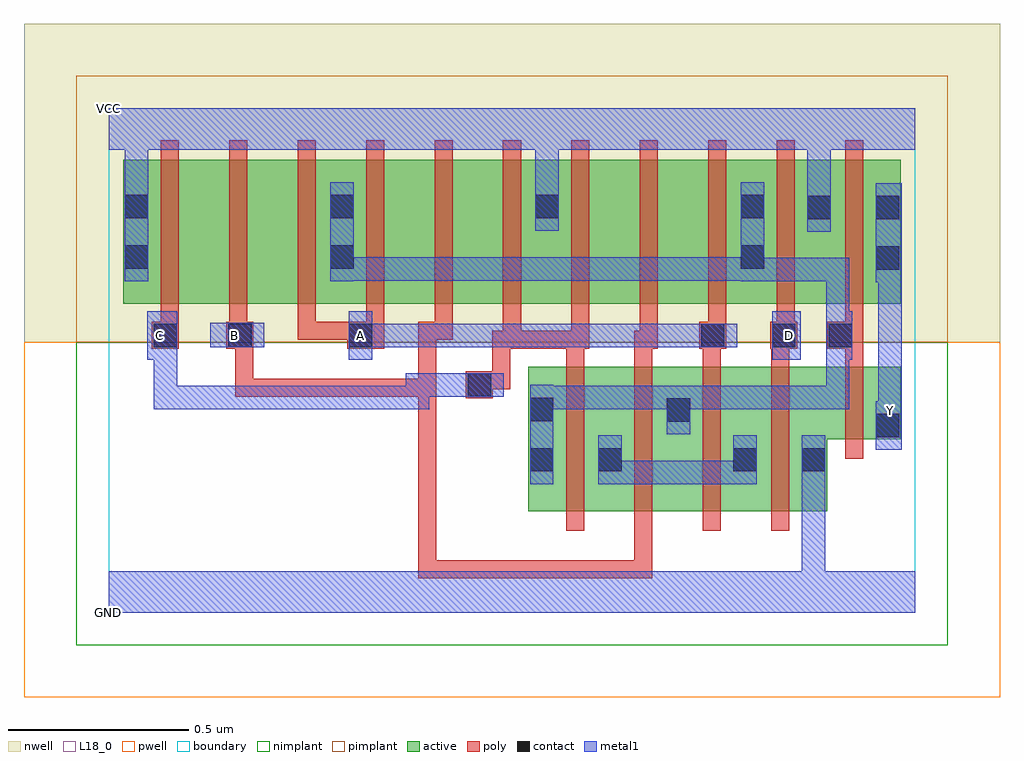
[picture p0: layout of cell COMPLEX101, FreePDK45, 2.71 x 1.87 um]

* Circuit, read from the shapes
.subckt COMPLEX101 A B C D GND VCC Y
M1 n1 C n2 VSUBS nfet w=0.4u l=0.05u
M2 n2 B n1 VSUBS nfet w=0.4u l=0.05u
M3 n1 A n2 VSUBS nfet w=0.4u l=0.05u
M4 GND D n1 VSUBS nfet w=0.4u l=0.05u
M5 Y n2 GND VSUBS nfet w=0.2u l=0.05u
M6 n3 C VCC n4 pfet w=0.4u l=0.05u
M7 n5 B n3 n4 pfet w=0.4u l=0.05u
M8 n2 A n5 n4 pfet w=0.4u l=0.05u
M9 n6 A n2 n4 pfet w=0.4u l=0.05u
M10 n7 B n6 n4 pfet w=0.4u l=0.05u
M11 VCC C n7 n4 pfet w=0.4u l=0.05u
M12 n8 C VCC n4 pfet w=0.4u l=0.05u
M13 n9 B n8 n4 pfet w=0.4u l=0.05u
M14 n2 A n9 n4 pfet w=0.4u l=0.05u
M15 VCC D n2 n4 pfet w=0.4u l=0.05u
M16 Y n2 VCC n4 pfet w=0.4u l=0.05u
.ends

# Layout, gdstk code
import gdstk
lib = gdstk.Library(unit=1e-6, precision=1e-09)
def R(c, l, rs):  # rectangles x0, y0, x1, y1
    for r in rs: c.add(gdstk.rectangle(r[:2], r[2:], *l))
def A(c, l, x, y, w, h, nx, ny, dx, dy):  # array of equal rectangles
    R(c, l, [(x+i*dx, y+j*dy, x+i*dx+w, y+j*dy+h) for i in range(nx) for j in range(ny)])
active = (1, 0)
pwell = (2, 0)
nwell = (3, 0)
nimplant = (4, 0)
pimplant = (5, 0)
poly = (9, 0)
contact = (10, 0)
metal1 = (11, 0)
L18_0 = (18, 0)
boundary = (235, 0)

complex101 = lib.new_cell('COMPLEX101')
A(complex101, active, 0.04, 0.857, 0.225, 0.4, 3, 1, 0.57, 0)
A(complex101, active, 0.265, 0.857, 0.19, 0.4, 3, 1, 0.57, 0)
A(complex101, active, 0.455, 0.857, 0.23, 0.4, 3, 1, 0.57, 0)
R(complex101, active, [(1.165,0.282,1.43,0.682), (1.355,0.282,1.62,0.682), (1.545,0.282,1.805,0.682), (1.73,0.282,1.995,0.682), (1.92,0.282,1.995,0.597), (1.165,0.295,1.24,0.682), (1.355,0.295,1.43,0.537), (1.545,0.295,1.62,0.682), (1.73,0.295,1.805,0.597), (1.92,0.482,2.2,0.682), (2.125,0.482,2.2,0.682), (0.04,0.857,0.115,1.257), (0.61,0.857,0.685,1.2), (1.18,0.857,1.255,1.257), (1.75,0.857,2.01,1.257), (1.75,0.857,1.825,1.2), (1.935,0.857,2.2,1.257), (1.935,0.857,2.01,1.257), (2.125,0.857,2.2,1.2)])
R(complex101, pwell, [(-0.235,-0.235,2.475,0.75)])
R(complex101, nwell, [(-0.235,0.75,2.475,1.635)])
R(complex101, nimplant, [(-0.09,-0.09,2.33,0.75)])
R(complex101, pimplant, [(-0.09,0.75,2.33,1.49)])
A(complex101, poly, 1.27, 0.227, 0.05, 0.51, 4, 1, 0.19, 0)
A(complex101, poly, 1.27, 0.687, 0.05, 0.095, 4, 1, 0.19, 0)
A(complex101, poly, 1.095, 0.732, 0.05, 0.12, 3, 1, 0.19, 0)
A(complex101, poly, 0.145, 0.757, 0.05, 0.095, 5, 1, 0.19, 0)
A(complex101, poly, 1.665, 0.757, 0.05, 0.095, 3, 1, 0.19, 0)
A(complex101, poly, 0.145, 0.802, 0.05, 0.51, 11, 1, 0.19, 0)
R(complex101, poly, [(0.86,0.095,0.91,0.145), (0.86,0.095,1.042,0.145), (0.86,0.095,0.91,0.65), (0.992,0.095,1.042,0.145), (0.992,0.095,1.042,0.145), (0.992,0.095,1.042,0.145), (0.992,0.095,1.187,0.145), (1.137,0.095,1.187,0.145), (1.137,0.095,1.187,0.145), (1.137,0.095,1.187,0.145), (1.137,0.095,1.32,0.145), (1.27,0.095,1.32,0.145), (1.27,0.095,1.51,0.145), (1.46,0.095,1.51,0.277), (1.46,0.095,1.51,0.145), (1.46,0.095,1.51,0.145), (1.46,0.095,1.51,0.145), (2.045,0.427,2.095,0.737), (0.992,0.595,1.067,0.67), (0.352,0.6,0.402,0.782), (0.352,0.6,0.402,0.65), (0.352,0.6,0.402,0.65), (0.352,0.6,0.402,0.65), (0.352,0.6,0.58,0.65), (0.53,0.6,0.58,0.65), (0.53,0.6,0.58,0.65), (0.53,0.6,0.58,0.65), (0.53,0.6,0.777,0.65), (0.727,0.6,0.777,0.65), (0.727,0.6,0.777,0.65), (0.727,0.6,0.777,0.65), (0.727,0.6,0.91,0.65), (0.86,0.6,0.91,0.65), (0.86,0.6,0.91,0.65), (0.86,0.6,0.91,0.65), (0.86,0.6,0.91,0.65), (0.86,0.6,0.91,0.65), (0.86,0.6,0.91,0.65), (0.86,0.6,0.91,0.65), (0.86,0.6,0.91,0.807), (1.017,0.62,1.067,0.67), (1.017,0.62,1.115,0.67), (1.065,0.62,1.115,0.782), (2.045,0.687,2.095,0.782), (0.12,0.732,0.195,0.807), (0.327,0.732,0.402,0.807), (0.662,0.732,0.765,0.807), (1.065,0.732,1.145,0.782), (1.095,0.732,1.32,0.782), (1.27,0.732,1.335,0.782), (1.27,0.732,1.32,0.782), (1.27,0.732,1.32,0.782), (1.46,0.732,1.525,0.782), (1.64,0.732,1.715,0.807), (1.837,0.732,1.912,0.807), (1.995,0.732,2.095,0.807), (0.525,0.757,0.575,0.807), (0.525,0.757,0.712,0.807), (0.662,0.757,0.712,0.807), (0.662,0.757,0.712,0.807), (0.86,0.757,0.955,0.807)])
A(complex101, contact, 0.045, 1.095, 0.065, 0.065, 4, 1, 0.57, 0)
R(complex101, contact, [(1.17,0.392,1.235,0.457), (1.36,0.392,1.425,0.457), (1.735,0.392,1.8,0.457), (1.925,0.392,1.99,0.457), (2.13,0.487,2.195,0.552), (1.55,0.53,1.615,0.595), (1.17,0.532,1.235,0.597), (0.997,0.6,1.062,0.665), (0.125,0.737,0.19,0.802), (0.332,0.737,0.397,0.802), (0.667,0.737,0.732,0.802), (1.645,0.737,1.71,0.802), (1.842,0.737,1.907,0.802), (2,0.737,2.065,0.802), (2.13,0.952,2.195,1.017), (0.045,0.955,0.11,1.02), (0.615,0.955,0.68,1.02), (1.755,0.955,1.82,1.02), (1.94,1.092,2.005,1.157), (2.13,1.092,2.195,1.157)])
R(complex101, metal1, [(0,0,2.24,0.115), (1.925,0.05,1.99,0.115), (1.925,0.05,1.99,0.115), (1.925,0.05,1.99,0.422), (1.17,0.357,1.235,0.632), (1.36,0.357,1.425,0.422), (1.36,0.357,1.425,0.422), (1.36,0.357,1.425,0.492), (1.36,0.357,1.662,0.422), (1.597,0.357,1.662,0.422), (1.597,0.357,1.662,0.422), (1.597,0.357,1.662,0.422), (1.597,0.357,1.8,0.422), (1.735,0.357,1.8,0.492), (1.925,0.357,1.99,0.492), (2.13,0.452,2.202,0.587), (2.137,0.492,2.202,0.557), (2.137,0.492,2.202,0.627), (1.55,0.495,1.615,0.63), (2.137,0.562,2.202,0.982), (0.125,0.565,0.19,0.63), (0.125,0.565,0.327,0.63), (0.125,0.565,0.19,0.767), (0.262,0.565,0.327,0.63), (0.262,0.565,0.465,0.63), (0.4,0.565,0.465,0.63), (0.4,0.565,0.465,0.63), (0.4,0.565,0.465,0.63), (0.4,0.565,0.602,0.63), (0.537,0.565,0.602,0.63), (0.537,0.565,0.602,0.63), (0.537,0.565,0.602,0.63), (0.537,0.565,0.89,0.63), (0.825,0.565,0.89,0.63), (0.825,0.565,0.89,0.63), (0.825,0.565,0.89,0.665), (1.17,0.565,1.235,0.63), (1.17,0.565,1.235,0.63), (1.17,0.565,1.425,0.63), (1.36,0.565,1.425,0.63), (1.36,0.565,1.425,0.63), (1.36,0.565,1.425,0.63), (1.36,0.565,1.615,0.63), (1.55,0.565,1.615,0.63), (1.55,0.565,1.615,0.63), (1.55,0.565,1.852,0.63), (1.787,0.565,1.852,0.63), (1.787,0.565,1.852,0.63), (1.787,0.565,1.852,0.63), (1.787,0.565,2.057,0.63), (1.992,0.565,2.057,0.63), (1.992,0.565,2.057,0.837), (0.825,0.6,1.027,0.665), (0.962,0.6,1.027,0.665), (0.962,0.6,1.027,0.665), (0.962,0.6,1.027,0.665), (0.962,0.6,1.027,0.665), (0.962,0.6,1.097,0.665), (0.107,0.702,0.19,0.837), (0.125,0.702,0.19,0.767), (0.125,0.702,0.19,0.767), (0.667,0.702,0.732,0.837), (1.842,0.702,1.922,0.837), (2,0.702,2.065,0.837), (0.282,0.737,0.432,0.805), (0.667,0.737,0.87,0.802), (0.805,0.737,0.87,0.802), (0.805,0.737,0.87,0.802), (0.805,0.737,0.87,0.802), (0.805,0.737,1.097,0.802), (1.032,0.737,1.097,0.802), (1.032,0.737,1.097,0.802), (1.032,0.737,1.097,0.802), (1.032,0.737,1.235,0.802), (1.17,0.737,1.235,0.802), (1.17,0.737,1.235,0.802), (1.17,0.737,1.235,0.802), (1.17,0.737,1.425,0.802), (1.36,0.737,1.425,0.802), (1.36,0.737,1.425,0.802), (1.36,0.737,1.425,0.802), (1.36,0.737,1.662,0.802), (1.597,0.737,1.662,0.802), (1.597,0.737,1.675,0.802), (1.61,0.737,1.745,0.802), (1.992,0.772,2.057,0.837), (1.992,0.772,2.065,0.837), (1.992,0.772,2.057,0.985), (2.13,0.917,2.202,1.192), (0.045,0.92,0.11,1.195), (0.615,0.92,0.68,1.195), (1.755,0.92,1.82,0.985), (1.755,0.92,1.82,0.985), (1.755,0.92,2.057,0.985), (1.755,0.92,1.82,1.195), (1.992,0.92,2.057,0.985), (0.615,0.922,0.68,0.987), (0.615,0.922,0.68,0.987), (0.615,0.922,0.87,0.987), (0.805,0.922,0.87,0.987), (0.805,0.922,0.87,0.987), (0.805,0.922,0.87,0.987), (0.805,0.922,1.027,0.987), (0.962,0.922,1.027,0.987), (0.962,0.922,1.027,0.987), (0.962,0.922,1.027,0.987), (0.962,0.922,1.287,0.987), (1.222,0.922,1.287,0.987), (1.222,0.922,1.287,0.987), (1.222,0.922,1.287,0.987), (1.222,0.922,1.425,0.987), (1.36,0.922,1.425,0.987), (1.36,0.922,1.425,0.987), (1.36,0.922,1.425,0.987), (1.36,0.922,1.562,0.987), (1.497,0.922,1.562,0.987), (1.497,0.922,1.562,0.987), (1.497,0.922,1.562,0.987), (1.497,0.922,1.82,0.987), (1.94,1.057,2.005,1.192), (1.185,1.06,1.25,1.195), (1.94,1.127,2.005,1.35), (0.045,1.13,0.11,1.35), (1.185,1.13,1.25,1.35), (0,1.285,2.24,1.4)])
R(complex101, L18_0, [(0,0,2.24,0.115), (1.925,0.05,1.99,0.115), (1.925,0.05,1.99,0.115), (1.925,0.05,1.99,0.422), (1.925,0.357,1.99,0.492), (2.13,0.452,2.202,0.587), (2.137,0.492,2.202,0.557), (2.137,0.492,2.202,0.627), (2.137,0.527,2.202,0.592), (2.137,0.562,2.202,0.982), (0.125,0.565,0.19,0.63), (0.125,0.565,0.19,0.767), (0.125,0.565,0.327,0.63), (0.262,0.565,0.327,0.63), (0.262,0.565,0.465,0.63), (0.4,0.565,0.465,0.63), (0.4,0.565,0.465,0.63), (0.4,0.565,0.465,0.63), (0.4,0.565,0.602,0.63), (0.537,0.565,0.602,0.63), (0.537,0.565,0.602,0.63), (0.537,0.565,0.602,0.63), (0.537,0.565,0.89,0.63), (0.825,0.565,0.89,0.63), (0.825,0.565,0.89,0.63), (0.825,0.565,0.89,0.665), (0.825,0.6,1.027,0.665), (0.962,0.6,1.027,0.665), (0.962,0.6,1.027,0.665), (0.962,0.6,1.027,0.665), (0.962,0.6,1.027,0.665), (0.962,0.6,1.097,0.665), (0.107,0.702,0.19,0.837), (0.125,0.702,0.19,0.767), (0.125,0.702,0.19,0.767), (0.667,0.702,0.732,0.837), (1.842,0.702,1.922,0.837), (0.107,0.737,0.172,0.802), (0.282,0.737,0.432,0.805), (0.317,0.737,0.382,0.802), (0.667,0.737,0.732,0.802), (0.667,0.737,0.87,0.802), (0.805,0.737,0.87,0.802), (0.805,0.737,0.87,0.802), (0.805,0.737,0.87,0.802), (0.805,0.737,1.097,0.802), (1.032,0.737,1.097,0.802), (1.032,0.737,1.097,0.802), (1.032,0.737,1.097,0.802), (1.032,0.737,1.235,0.802), (1.17,0.737,1.235,0.802), (1.17,0.737,1.235,0.802), (1.17,0.737,1.235,0.802), (1.17,0.737,1.425,0.802), (1.36,0.737,1.425,0.802), (1.36,0.737,1.425,0.802), (1.36,0.737,1.425,0.802), (1.36,0.737,1.662,0.802), (1.597,0.737,1.662,0.802), (1.597,0.737,1.675,0.802), (1.61,0.737,1.745,0.802), (1.857,0.737,1.922,0.802), (2.13,0.917,2.202,1.192), (0.045,0.92,0.11,1.195), (1.94,1.057,2.005,1.192), (1.185,1.06,1.25,1.195), (1.94,1.127,2.005,1.35), (0.045,1.13,0.11,1.35), (1.185,1.13,1.25,1.35), (0,1.285,2.24,1.4)])
R(complex101, boundary, [(0,0,2.24,1.4)])
complex101.add(gdstk.Label('A', (0.7,0.77), layer=11, texttype=0))
complex101.add(gdstk.Label('B', (0.35,0.77), layer=11, texttype=0))
complex101.add(gdstk.Label('C', (0.14,0.77), layer=11, texttype=0))
complex101.add(gdstk.Label('D', (1.89,0.77), layer=11, texttype=0))
complex101.add(gdstk.Label('Y', (2.17,0.56), layer=11, texttype=0))
complex101.add(gdstk.Label('VCC', (0,1.4), layer=11, texttype=0))
complex101.add(gdstk.Label('GND', (0,0), layer=11, texttype=0))

lib.write_gds('COMPLEX101.gds')
